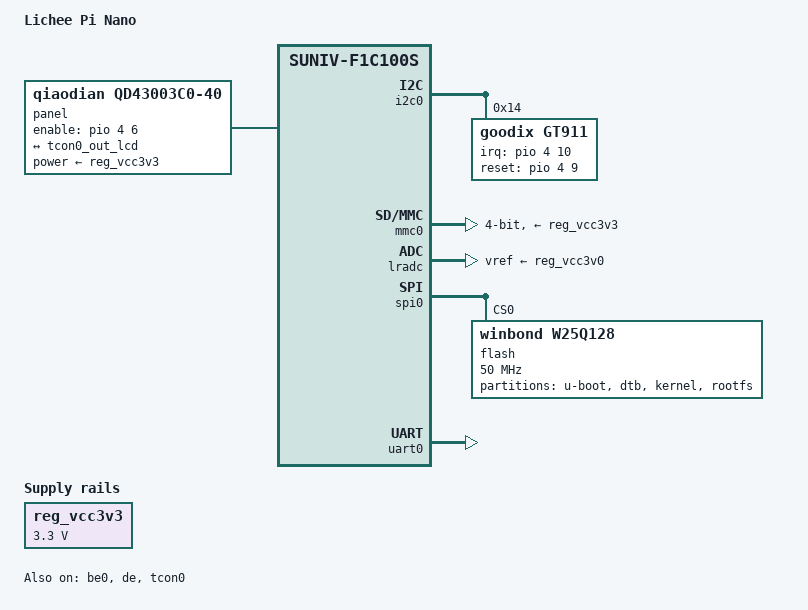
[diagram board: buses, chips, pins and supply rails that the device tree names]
// SPDX-License-Identifier: (GPL-2.0+ OR X11)
// based on https://github.com/Lichee-Pi/linux/blob/nano-5.2-flash/arch/arm/boot/dts/suniv-f1c100s-licheepi-nano.dts on 2021-08
/*
 * Copyright 2018 Icenowy Zheng <icenowy@aosc.io>
 */

/dts-v1/;
#include "suniv-f1c100s.dtsi"
#include <dt-bindings/gpio/gpio.h>
#include <dt-bindings/input/input.h>
#include <dt-bindings/interrupt-controller/irq.h>
#include "sunxi-common-regulators.dtsi"

/ {
	model = "Lichee Pi Nano";
	compatible = "licheepi,licheepi-nano", "allwinner,suniv-f1c100s";

	aliases {
		serial0 = &uart0;
		spi0 = &spi0;
	};

	chosen {
		stdout-path = "serial0:115200n8";
	};

	panel: panel {
		compatible = "qiaodian,qd43003c0-40", "simple-panel";
		#address-cells = <1>;
		#size-cells = <0>;
		enable-gpios = <&pio 4 6 GPIO_ACTIVE_HIGH>;
		power-supply = <&reg_vcc3v3>;

		port@0 {
			reg = <0>;
			#address-cells = <1>;
			#size-cells = <0>;

			panel_input: endpoint@0 {
				reg = <0>;
				remote-endpoint = <&tcon0_out_lcd>;
			};
		};
	};

	reg_vcc3v3: vcc3v3 {
		compatible = "regulator-fixed";
		regulator-name = "vcc3v3";
		regulator-min-microvolt = <3300000>;
		regulator-max-microvolt = <3300000>;
	};
};

&be0 {
	status = "okay";
};

&de {
	status = "okay";
};

&i2c0 {
		pinctrl-0 = <&i2c0_pins>;
		pinctrl-names = "default";
		status = "okay";

		gt911: touchscreen@14 {
				compatible = "goodix,gt911";
				reg = <0x14>;
				interrupt-parent = <&pio>;
				interrupts = <4 10 IRQ_TYPE_EDGE_FALLING>; /* (PE10) */
				pinctrl-names = "default";
				irq-gpios = <&pio 4 10 GPIO_ACTIVE_HIGH>; /* (PE10) */
				reset-gpios = <&pio 4 9 GPIO_ACTIVE_HIGH>; /* RST (PE9) */
				/* touchscreen-swapped-x-y */
		};
};

&mmc0 {
	vmmc-supply = <&reg_vcc3v3>;
	bus-width = <4>;
	broken-cd;
	status = "okay";
};

&pio {
		ts_reset_pin: ts_reset_pin@0 {
				pins = "PE9";
				function = "gpio_out";
		};
};

&lradc {
	vref-supply = <&reg_vcc3v0>;
	status = "okay";

	button-200 {
		label = "Volume Up";
		linux,code = <KEY_VOLUMEUP>;
		channel = <0>;
		voltage = <200000>;
	};

	button-400 {
		label = "Volume Down";
		linux,code = <KEY_VOLUMEDOWN>;
		channel = <0>;
		voltage = <400000>;
	};

	button-600 {
		label = "Select";
		linux,code = <KEY_SELECT>;
		channel = <0>;
		voltage = <600000>;
	};

	button-800 {
		label = "Start";
		linux,code = <KEY_OK>;
		channel = <0>;
		voltage = <800000>;
	};
};

&spi0 {
	pinctrl-names = "default";
	pinctrl-0 = <&spi0_pins_a>;
	status = "okay";

	flash: w25q128@0 {
		#address-cells = <1>;
		#size-cells = <1>;
		compatible = "winbond,w25q128", "jedec,spi-nor";
		reg = <0>;
		spi-max-frequency = <50000000>;
		partitions {
			compatible = "fixed-partitions";
			#address-cells = <1>;
			#size-cells = <1>;

			partition@0 {
				label = "u-boot";
				reg = <0x000000 0x100000>;
				read-only;
			};

			partition@100000 {
				label = "dtb";
				reg = <0x100000 0x10000>;
				read-only;
			};

			partition@110000 {
				label = "kernel";
				reg = <0x110000 0x400000>;
				read-only;
			};

			partition@520000 {
				label = "rootfs";
				reg = <0x510000 0xAF0000>;
			};
		};
	};
};

&tcon0 {
	pinctrl-names = "default";
	pinctrl-0 = <&lcd_rgb666_pins>;
	status = "okay";
};

&tcon0_out {
	tcon0_out_lcd: endpoint@0 {
		reg = <0>;
		remote-endpoint = <&panel_input>;
	};
};

&uart0 {
	pinctrl-names = "default";
	pinctrl-0 = <&uart0_pe_pins>;
	status = "okay";
};
